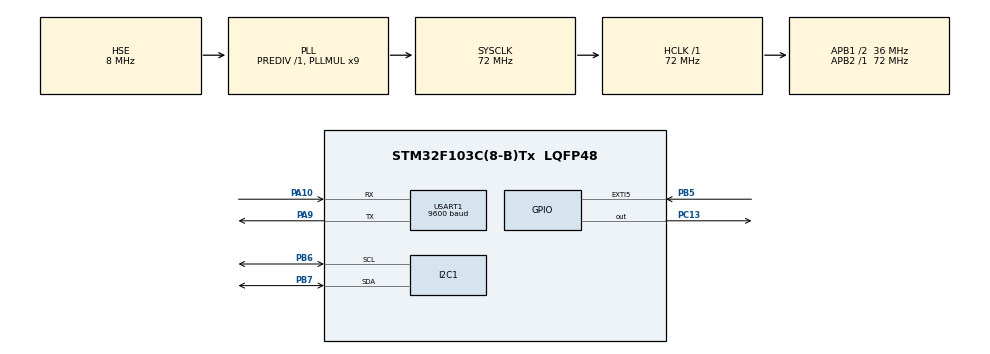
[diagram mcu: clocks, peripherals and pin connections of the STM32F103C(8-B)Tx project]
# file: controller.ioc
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I2C1.I2C_Mode=I2C_Fast
Mcu.Family=STM32F1
Mcu.Name=STM32F103C(8-B)Tx
Mcu.Package=LQFP48
NVIC.EXTI9_5_IRQn=true\:0\:0\:false\:false\:true\:true\:true\:true
NVIC.PriorityGroup=NVIC_PRIORITYGROUP_4
NVIC.USART1_IRQn=true\:0\:0\:false\:false\:true\:true\:true\:true
PA10.Mode=Asynchronous
PA10.Signal=USART1_RX
PA13.Mode=Serial_Wire
PA13.Signal=SYS_JTMS-SWDIO
PA14.Mode=Serial_Wire
PA14.Signal=SYS_JTCK-SWCLK
PA9.Mode=Asynchronous
PA9.Signal=USART1_TX
PB5.Signal=GPXTI5
PB6.Mode=I2C
PB6.Signal=I2C1_SCL
PB7.Mode=I2C
PB7.Signal=I2C1_SDA
PC13-TAMPER-RTC.Signal=GPIO_Output
PD0-OSC_IN.Mode=HSE-External-Oscillator
PD0-OSC_IN.Signal=RCC_OSC_IN
PD1-OSC_OUT.Mode=HSE-External-Oscillator
PD1-OSC_OUT.Signal=RCC_OSC_OUT
ProjectManager.HeapSize=0x200
ProjectManager.StackSize=0x400
ProjectManager.TargetToolchain=MDK-ARM V5.32
RCC.AHBFreq_Value=72000000
RCC.APB1CLKDivider=RCC_HCLK_DIV2
RCC.APB1Freq_Value=36000000
RCC.APB1TimFreq_Value=72000000
RCC.APB2Freq_Value=72000000
RCC.APB2TimFreq_Value=72000000
RCC.HCLKFreq_Value=72000000
RCC.PLLMUL=RCC_PLL_MUL9
RCC.PLLSourceVirtual=RCC_PLLSOURCE_HSE
RCC.SYSCLKFreq_VALUE=72000000
RCC.SYSCLKSource=RCC_SYSCLKSOURCE_PLLCLK
RCC.USBFreq_Value=72000000
USART1.BaudRate=9600
USART1.VirtualMode=VM_ASYNC
board=custom

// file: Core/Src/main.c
/* USER CODE BEGIN Header */
/**
  ******************************************************************************
  * @file           : main.c
  * @brief          : Main program body
  ******************************************************************************
  * @attention
  *
  * Copyright (c) 2026 STMicroelectronics.
  * All rights reserved.
  *
  * This software is licensed under terms that can be found in the LICENSE file
  * in the root directory of this software component.
  * If no LICENSE file comes with this software, it is provided AS-IS.
  *
  ******************************************************************************
  */
/* USER CODE END Header */
#include "main.h"
#include "i2c.h"
#include "usart.h"
#include "gpio.h"

/* USER CODE BEGIN Includes */

#include <stdio.h>
#include "mpu6050.h"

/* USER CODE END Includes */

/* USER CODE BEGIN PD */

// 机械臂坐标范围限制 (单位: mm)
#define X_MAX 179
#define X_MIN -159  // 机械臂不能缩到底座里面
#define Y_MAX 169
#define Y_MIN -169
#define Z_MAX 225
#define Z_MIN 0

// 这是一个死区，手如果不怎么动（倾斜小于10度），坐标就不动，防止抖动
#define DEAD_ZONE 15.0f
// 移动速度系数
#define SPEED_FACTOR 0.005f

#define Z_MODE_THRESHOLD 50.0f
#define SIDE_MODE_THRESHOLD 50.0f

/* USER CODE END PD */

/* USER CODE BEGIN PV */

volatile uint8_t mpu_interrupt_flag = 0;
uint32_t last_send_time = 0;

// 当前的目标坐标 (全局变量)
float Target_X = 10.0f; // 初始位置 X
float Target_Y = 0.0f;   // 初始位置 Y
float Target_Z = 225.0f; // 初始位置 Z
float Last_Sent_X;
float Last_Sent_Y;
float Last_Sent_Z;

/* USER CODE END PV */

void SystemClock_Config(void);

/* USER CODE BEGIN 0 */

int fputc(int ch, FILE *f)
{
  HAL_UART_Transmit(&huart1, (uint8_t *)&ch, 1, 0xFFFF);
  return ch;
}

void HAL_GPIO_EXTI_Callback(uint16_t GPIO_Pin)
{
    if (GPIO_Pin == GPIO_PIN_5) // 你的 PB5 引脚
    {
        mpu_interrupt_flag = 1; // 只要置位就行，不要在这里做读取操作！
    }
}

float my_abs(float v) { return v > 0 ? v : -v; }

//void Calculate_Coordinate_From_Attitude(float pitch, float roll)
//{
//    float move_step = 0;

//    // --- 判断模式 ---
//    // 如果 Roll (横滚) 角度很大 (>50度)，说明手侧立起来了 -> 进入 Z轴模式
//    if (my_abs(roll) > Z_MODE_THRESHOLD)
//    {
//        // === Z 轴控制模式 ===
//        // 这时候，利用 Pitch (前后倾斜) 来控制 Z 轴升降
//        if (my_abs(pitch) > DEAD_ZONE)
//        {
//            move_step = (my_abs(pitch) - DEAD_ZONE) * SPEED_FACTOR;
//            if (pitch > 0) Target_Z -= move_step; // 低头 -> 下降
//            else           Target_Z += move_step; // 抬头 -> 上升
//        }
//    }
//    else
//    {
//        // === XY 轴控制模式 (普通平放) ===
//
//        // X轴 (Pitch控制)
//        if (my_abs(pitch) > DEAD_ZONE)
//        {
//            // 现在的速度是动态的：倾斜角度越大，跑得越快
//            move_step = (my_abs(pitch) - DEAD_ZONE) * SPEED_FACTOR;
//
//            if (pitch > 0) Target_X += move_step; // 低头 -> 前伸
//            else           Target_X -= move_step; // 抬头 -> 后缩
//        }

//        // Y轴 (Roll控制)
//        // 注意：这里 Roll 小于 50 度才会进来，所以要在 15~50 度之间控制 Y
//        if (my_abs(roll) > DEAD_ZONE)
//        {
//            move_step = (my_abs(roll) - DEAD_ZONE) * SPEED_FACTOR;
//
//            if (roll > 0) Target_Y += move_step; // 右翻 -> 右移
//            else          Target_Y -= move_step; // 左翻 -> 左移
//        }
//    }

//    // --- 范围限位 (防止超程) ---
//    if (Target_X > X_MAX) Target_X = X_MAX;
//    if (Target_X < X_MIN) Target_X = X_MIN;
//
//    if (Target_Y > Y_MAX) Target_Y = Y_MAX;
//    if (Target_Y < Y_MIN) Target_Y = Y_MIN;
//
//    if (Target_Z > Z_MAX) Target_Z = Z_MAX;
//    if (Target_Z < Z_MIN) Target_Z = Z_MIN;
//}
void Calculate_Coordinate_From_Attitude(float pitch, float roll, float yaw)
{
    float move_step = 0;

    // --- 侧立模式判断 ---
    // 初始状态 Roll 接近 90 或 -90。
    // 如果 Roll 回正到了水平面（比如 < 40度），我们进入 XY 平面模式
    // 否则（保持侧立），使用 Pitch 控制 X，用 Roll 的偏离量控制 Z

    if (my_abs(roll) > SIDE_MODE_THRESHOLD) // 保持侧立状态 (例如 THRESHOLD = 60)
    {
        // === 1. X 轴控制 (Pitch 前后倾斜) ===
        if (my_abs(pitch) > DEAD_ZONE)
        {
            move_step = (my_abs(pitch) - DEAD_ZONE) * SPEED_FACTOR;
            // 侧立时，抬头/低头依然对应前后位移
            if (pitch > 0) Target_X += move_step;
            else           Target_X -= move_step;
        }

        // === 2. Z 轴控制 (Roll 进一步侧倾或回正) ===
        // 假设 90 度是标准垂直，Roll 往 100 度走是升，往 80 度走是降
        float roll_offset = my_abs(roll) - 90.0f;

        if (my_abs(roll_offset) > DEAD_ZONE)
        {
            move_step = (my_abs(roll_offset) - DEAD_ZONE) * SPEED_FACTOR;
            // 如果 Roll 绝对值变大（更斜了）则上升，变小（向水平靠拢）则下降
            if (roll_offset > 0) Target_Z -= move_step;
            else                Target_Z += move_step;
        }
    }
    else
    {
//        // === 3. Y 轴控制模式 (当手放平以后) ===
//        // 当 Roll 角度较小时，切换为控制 Y 轴（左右平移）
//        if (my_abs(yaw) > DEAD_ZONE)
//        {
//            move_step = (my_abs(roll) - DEAD_ZONE) * SPEED_FACTOR;
//            if (yaw > 0) Target_Y += move_step;
//            else          Target_Y -= move_step;
//        }

        // 此模式下 Pitch 依然可以控制 X
        if (my_abs(pitch) > DEAD_ZONE)
        {
            move_step = (my_abs(pitch) - DEAD_ZONE) * SPEED_FACTOR;
            if (pitch > 0) Target_Y += move_step;
            else           Target_Y -= move_step;
        }
    }

    // --- 范围限位 (保持不变) ---
    if (Target_X > X_MAX) Target_X = X_MAX;
    if (Target_X < X_MIN) Target_X = X_MIN;
    if (Target_Y > Y_MAX) Target_Y = Y_MAX;
    if (Target_Y < Y_MIN) Target_Y = Y_MIN;
    if (Target_Z > Z_MAX) Target_Z = Z_MAX;
    if (Target_Z < Z_MIN) Target_Z = Z_MIN;
}

/* USER CODE END 0 */

int main(void)
{

  /* MCU Configuration--------------------------------------------------------*/

  /* Reset of all peripherals, Initializes the Flash interface and the Systick. */
  HAL_Init();

  /* Configure the system clock */
  SystemClock_Config();

  /* Initialize all configured peripherals */
  MX_GPIO_Init();
  MX_I2C1_Init();
  MX_USART1_UART_Init();
  /* USER CODE BEGIN 2 */

    // 1. 初始化 MPU6050 (基础寄存器)
  printf("MPU6050 Init...\r\n"); // 打印提示
  MPU6050_initialize();

  // 2. 初始化 DMP (加载固件，比较慢，约 2秒)
  printf("DMP Init (Wait ~2s)...\r\n");
  DMP_Init();
  HAL_Delay(2000);
  printf("DMP Ready!\r\n");

  /* USER CODE END 2 */

  /* Infinite loop */
  /* USER CODE BEGIN WHILE */
  while (1)
  {
	      // 1. 高频计算 (保证手感丝滑)
    if (MPU_Check_And_Read())
    {
        Calculate_Coordinate_From_Attitude(Pitch, Roll, Yaw);
    }

    // 2. 低频发送 (解耦控制)
    // 只有当时间间隔 > 300ms 时才尝试发送
    if (HAL_GetTick() - last_send_time > 300)
    {
        // 3. 变化检测 (解决“一直发送”的问题)
        // 只有当坐标变化超过 2mm 时，才真正发给机械臂
        if (my_abs(Target_X - Last_Sent_X) > 2.0f ||
            my_abs(Target_Y - Last_Sent_Y) > 2.0f ||
            my_abs(Target_Z - Last_Sent_Z) > 2.0f)
        {
            // 更新发送时间
            last_send_time = HAL_GetTick();

            // 更新“上次坐标”
            Last_Sent_X = Target_X;
            Last_Sent_Y = Target_Y;
            Last_Sent_Z = Target_Z;

			printf("x%.1f y%.1f z%.1f;", Target_X, Target_Y, Target_Z);

			// 可选：翻转一个 LED 提示发送状态
			HAL_GPIO_TogglePin(GPIOC, GPIO_PIN_13);

            // 调试打印 (可选)
            // printf("Sent: X%.0f Y%.0f Z%.0f\r\n", Target_X, Target_Y, Target_Z);
        }
    }

    /* USER CODE END WHILE */

  }
}

void SystemClock_Config(void)
{
  RCC_OscInitTypeDef RCC_OscInitStruct = {0};
  RCC_ClkInitTypeDef RCC_ClkInitStruct = {0};

  /** Initializes the RCC Oscillators according to the specified parameters
  * in the RCC_OscInitTypeDef structure.
  */
  RCC_OscInitStruct.OscillatorType = RCC_OSCILLATORTYPE_HSE;
  RCC_OscInitStruct.HSEState = RCC_HSE_ON;
  RCC_OscInitStruct.HSEPredivValue = RCC_HSE_PREDIV_DIV1;
  RCC_OscInitStruct.HSIState = RCC_HSI_ON;
  RCC_OscInitStruct.PLL.PLLState = RCC_PLL_ON;
  RCC_OscInitStruct.PLL.PLLSource = RCC_PLLSOURCE_HSE;
  RCC_OscInitStruct.PLL.PLLMUL = RCC_PLL_MUL9;
  if (HAL_RCC_OscConfig(&RCC_OscInitStruct) != HAL_OK)
  {
    Error_Handler();
  }

  /** Initializes the CPU, AHB and APB buses clocks
  */
  RCC_ClkInitStruct.ClockType = RCC_CLOCKTYPE_HCLK|RCC_CLOCKTYPE_SYSCLK
                              |RCC_CLOCKTYPE_PCLK1|RCC_CLOCKTYPE_PCLK2;
  RCC_ClkInitStruct.SYSCLKSource = RCC_SYSCLKSOURCE_PLLCLK;
  RCC_ClkInitStruct.AHBCLKDivider = RCC_SYSCLK_DIV1;
  RCC_ClkInitStruct.APB1CLKDivider = RCC_HCLK_DIV2;
  RCC_ClkInitStruct.APB2CLKDivider = RCC_HCLK_DIV1;

  if (HAL_RCC_ClockConfig(&RCC_ClkInitStruct, FLASH_LATENCY_2) != HAL_OK)
  {
    Error_Handler();
  }
}

void Error_Handler(void)
{
  __disable_irq();
  while (1)
  {
  }
}
